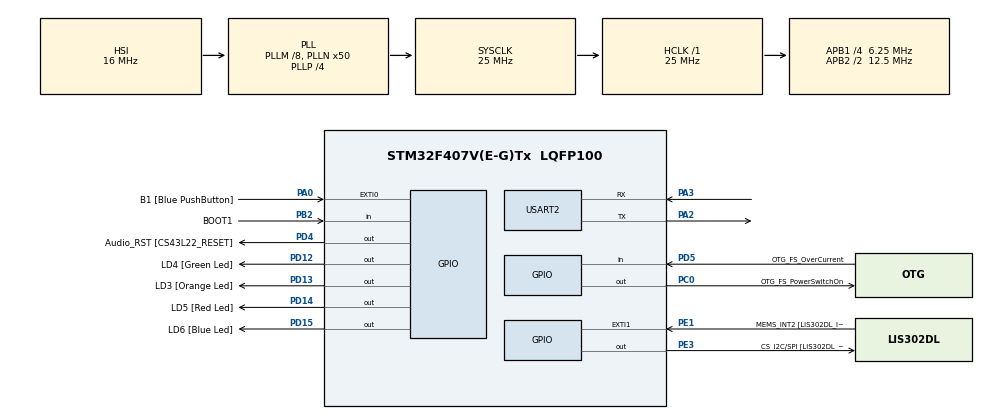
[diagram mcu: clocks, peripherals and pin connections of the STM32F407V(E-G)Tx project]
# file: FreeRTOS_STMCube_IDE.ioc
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Mcu.Family=STM32F4
Mcu.Name=STM32F407V(E-G)Tx
Mcu.Package=LQFP100
NVIC.PriorityGroup=NVIC_PRIORITYGROUP_4
NVIC.TIM6_DAC_IRQn=true\:0\:0\:false\:false\:true\:false\:true\:true
NVIC.TimeBase=TIM6_DAC_IRQn
NVIC.TimeBaseIP=TIM6
NVIC.USART2_IRQn=true\:7\:0\:true\:false\:true\:true\:true\:true
PA0-WKUP.GPIO_Label=B1 [Blue PushButton]
PA0-WKUP.GPIO_ModeDefaultEXTI=GPIO_MODE_IT_FALLING
PA0-WKUP.Signal=GPXTI0
PA10.GPIO_Label=OTG_FS_ID
PA10.GPIO_Mode=GPIO_MODE_AF_PP
PA10.GPIO_PuPd=GPIO_NOPULL
PA10.GPIO_Speed=GPIO_SPEED_FREQ_LOW
PA10.Signal=USB_OTG_FS_ID
PA11.GPIO_Label=OTG_FS_DM
PA11.GPIO_Mode=GPIO_MODE_AF_PP
PA11.GPIO_PuPd=GPIO_NOPULL
PA11.GPIO_Speed=GPIO_SPEED_FREQ_LOW
PA11.Signal=USB_OTG_FS_DM
PA12.GPIO_Label=OTG_FS_DP
PA12.GPIO_Mode=GPIO_MODE_AF_PP
PA12.GPIO_PuPd=GPIO_NOPULL
PA12.GPIO_Speed=GPIO_SPEED_FREQ_LOW
PA12.Signal=USB_OTG_FS_DP
PA13.GPIO_Label=SWDIO
PA13.Signal=SYS_JTMS-SWDIO
PA14.GPIO_Label=SWCLK
PA14.Signal=SYS_JTCK-SWCLK
PA2.Mode=Asynchronous
PA2.Signal=USART2_TX
PA3.Mode=Asynchronous
PA3.Signal=USART2_RX
PA4.GPIO_Label=I2S3_WS [CS43L22_LRCK]
PA4.GPIO_Mode=GPIO_MODE_AF_PP
PA4.GPIO_PuPd=GPIO_NOPULL
PA4.GPIO_Speed=GPIO_SPEED_FREQ_LOW
PA4.Signal=I2S3_WS
PA5.GPIO_Label=SPI1_SCK [LIS302DL_SCL/SPC]
PA5.GPIO_Mode=GPIO_MODE_AF_PP
PA5.GPIO_PuPd=GPIO_NOPULL
PA5.GPIO_Speed=GPIO_SPEED_FREQ_LOW
PA5.Signal=SPI1_SCK
PA6.GPIO_Label=SPI1_MISO [LIS302DL_SDO]
PA6.GPIO_Mode=GPIO_MODE_AF_PP
PA6.GPIO_PuPd=GPIO_NOPULL
PA6.GPIO_Speed=GPIO_SPEED_FREQ_LOW
PA6.Signal=SPI1_MISO
PA7.GPIO_Label=SPI1_MOSI [LIS302DL_SDA/SDI/SDO]
PA7.GPIO_Mode=GPIO_MODE_AF_PP
PA7.GPIO_PuPd=GPIO_NOPULL
PA7.GPIO_Speed=GPIO_SPEED_FREQ_LOW
PA7.Signal=SPI1_MOSI
PA9.GPIO_Label=VBUS_FS
PA9.GPIO_Mode=GPIO_MODE_INPUT
PA9.GPIO_PuPd=GPIO_NOPULL
PA9.Signal=USB_OTG_FS_VBUS
PB10.GPIO_Label=CLK_IN [MP45DT02_CLK]
PB10.GPIO_Mode=GPIO_MODE_AF_PP
PB10.GPIO_PuPd=GPIO_NOPULL
PB10.GPIO_Speed=GPIO_SPEED_FREQ_LOW
PB10.Signal=I2S2_CK
PB2.GPIO_Label=BOOT1
PB2.GPIO_Mode=GPIO_MODE_INPUT
PB2.GPIO_PuPd=GPIO_NOPULL
PB2.Signal=GPIO_Input
PB3.GPIO_Label=SWO
PB3.Signal=SYS_JTDO-SWO
PB6.GPIO_Label=Audio_SCL [CS43L22_SCL]
PB6.GPIO_Mode=GPIO_MODE_AF_OD
PB6.GPIO_PuPd=GPIO_NOPULL
PB6.GPIO_Speed=GPIO_SPEED_FREQ_LOW
PB6.Signal=I2C1_SCL
PB9.GPIO_Label=Audio_SDA [CS43L22_SDA]
PB9.GPIO_Mode=GPIO_MODE_AF_OD
PB9.GPIO_PuPd=GPIO_NOPULL
PB9.GPIO_Speed=GPIO_SPEED_FREQ_LOW
PB9.Signal=I2C1_SDA
PC0.GPIO_Label=OTG_FS_PowerSwitchOn
PC0.GPIO_PuPd=GPIO_NOPULL
PC0.GPIO_Speed=GPIO_SPEED_FREQ_LOW
PC0.PinState=GPIO_PIN_SET
PC0.Signal=GPIO_Output
PC10.GPIO_Label=I2S3_SCK [CS43L22_SCLK]
PC10.GPIO_Mode=GPIO_MODE_AF_PP
PC10.GPIO_PuPd=GPIO_NOPULL
PC10.GPIO_Speed=GPIO_SPEED_FREQ_LOW
PC10.Signal=I2S3_CK
PC12.GPIO_Label=I2S3_SD [CS43L22_SDIN]
PC12.GPIO_Mode=GPIO_MODE_AF_PP
PC12.GPIO_PuPd=GPIO_NOPULL
PC12.GPIO_Speed=GPIO_SPEED_FREQ_LOW
PC12.Signal=I2S3_SD
PC14-OSC32_IN.GPIO_Label=PC14-OSC32_IN
PC14-OSC32_IN.Signal=RCC_OSC32_IN
PC15-OSC32_OUT.GPIO_Label=PC15-OSC32_OUT
PC15-OSC32_OUT.Signal=RCC_OSC32_OUT
PC3.GPIO_Label=PDM_OUT [MP45DT02_DOUT]
PC3.GPIO_Mode=GPIO_MODE_AF_PP
PC3.GPIO_PuPd=GPIO_NOPULL
PC3.GPIO_Speed=GPIO_SPEED_FREQ_LOW
PC3.Signal=I2S2_SD
PC7.GPIO_Label=I2S3_MCK [CS43L22_MCLK]
PC7.GPIO_Mode=GPIO_MODE_AF_PP
PC7.GPIO_PuPd=GPIO_NOPULL
PC7.GPIO_Speed=GPIO_SPEED_FREQ_LOW
PC7.Signal=I2S3_MCK
PD12.GPIO_Label=LD4 [Green Led]
PD12.GPIO_PuPd=GPIO_NOPULL
PD12.GPIO_Speed=GPIO_SPEED_FREQ_LOW
PD12.Signal=GPIO_Output
PD13.GPIO_Label=LD3 [Orange Led]
PD13.GPIO_PuPd=GPIO_NOPULL
PD13.GPIO_Speed=GPIO_SPEED_FREQ_LOW
PD13.Signal=GPIO_Output
PD14.GPIO_Label=LD5 [Red Led]
PD14.GPIO_PuPd=GPIO_NOPULL
PD14.GPIO_Speed=GPIO_SPEED_FREQ_LOW
PD14.Signal=GPIO_Output
PD15.GPIO_Label=LD6 [Blue Led]
PD15.GPIO_PuPd=GPIO_NOPULL
PD15.GPIO_Speed=GPIO_SPEED_FREQ_LOW
PD15.Signal=GPIO_Output
PD4.GPIO_Label=Audio_RST [CS43L22_RESET]
PD4.GPIO_PuPd=GPIO_NOPULL
PD4.GPIO_Speed=GPIO_SPEED_FREQ_LOW
PD4.Signal=GPIO_Output
PD5.GPIO_Label=OTG_FS_OverCurrent
PD5.GPIO_Mode=GPIO_MODE_INPUT
PD5.GPIO_PuPd=GPIO_NOPULL
PD5.Signal=GPIO_Input
PE1.GPIO_Label=MEMS_INT2 [LIS302DL_INT2]
PE1.GPIO_ModeDefaultEXTI=GPIO_MODE_EVT_RISING
PE1.GPIO_PuPd=GPIO_NOPULL
PE1.Signal=GPXTI1
PE3.GPIO_Label=CS_I2C/SPI [LIS302DL_CS_I2C/SPI]
PE3.GPIO_PuPd=GPIO_NOPULL
PE3.GPIO_Speed=GPIO_SPEED_FREQ_LOW
PE3.Signal=GPIO_Output
PH0-OSC_IN.GPIO_Label=PH0-OSC_IN
PH0-OSC_IN.Signal=RCC_OSC_IN
PH1-OSC_OUT.GPIO_Label=PH1-OSC_OUT
PH1-OSC_OUT.Signal=RCC_OSC_OUT
ProjectManager.HeapSize=0x200
ProjectManager.StackSize=0x400
ProjectManager.TargetToolchain=STM32CubeIDE
RCC.48MHZClocksFreq_Value=14285714.285714285
RCC.AHBFreq_Value=25000000
RCC.APB1CLKDivider=RCC_HCLK_DIV4
RCC.APB1Freq_Value=6250000
RCC.APB1TimFreq_Value=12500000
RCC.APB2CLKDivider=RCC_HCLK_DIV2
RCC.APB2Freq_Value=12500000
RCC.APB2TimFreq_Value=25000000
RCC.CortexFreq_Value=25000000
RCC.HCLKFreq_Value=25000000
RCC.HSE_VALUE=8000000
RCC.HSI_VALUE=16000000
RCC.LSE_VALUE=32768
RCC.PLLM=8
RCC.PLLN=50
RCC.PLLP=RCC_PLLP_DIV4
RCC.PLLQ=7
RCC.SYSCLKFreq_VALUE=25000000
RCC.SYSCLKSource=RCC_SYSCLKSOURCE_PLLCLK
RCC.VCOOutputFreq_Value=100000000
RTC.HourFormat=RTC_HOURFORMAT_12
USART2.VirtualMode=VM_ASYNC
VP_RTC_VS_RTC_Activate.Mode=RTC_Enabled
VP_SYS_VS_tim6.Mode=TIM6
board=STM32F407G-DISC1

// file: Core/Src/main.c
/* USER CODE BEGIN Header */
/**
  ******************************************************************************
  * @file           : main.c
  * @brief          : Main program body
  ******************************************************************************
  * @attention
  *
  * Copyright (c) 2024 STMicroelectronics.
  * All rights reserved.
  *
  * This software is licensed under terms that can be found in the LICENSE file
  * in the root directory of this software component.
  * If no LICENSE file comes with this software, it is provided AS-IS.
  *
  ******************************************************************************
  */
/* USER CODE END Header */
#include "main.h"

/* USER CODE BEGIN Includes */
#include "stdio.h"
#include "FreeRTOS.h"
#include "task.h"
#include "queue.h"

/* USER CODE END Includes */

RTC_HandleTypeDef hrtc;

UART_HandleTypeDef huart2;

/* USER CODE BEGIN PV */
//TaskHandle_t Red_Led_Handle;
//TaskHandle_t Button_Handle;
TaskHandle_t Menu_Task_Handle;
TaskHandle_t LED_Task_Handle;
TaskHandle_t RTC_Task_Handle;
TaskHandle_t Print_Task_Handle;
TaskHandle_t Command_Task_Handle;
uint8_t user_data;
QueueHandle_t input_data_queue;
QueueHandle_t print_queue;
states e_state = main_menu;

/* USER CODE END PV */

void SystemClock_Config(void);
static void MX_GPIO_Init(void);
static void MX_RTC_Init(void);
static void MX_USART2_UART_Init(void);

/* USER CODE BEGIN 0 */
//void Red_Led_Handler(void *param);
//void Button_Handler(void *param);

/* USER CODE END 0 */

int main(void)
{

  /* USER CODE BEGIN 1 */
	BaseType_t status;
  /* USER CODE END 1 */

  /* MCU Configuration--------------------------------------------------------*/

  /* Reset of all peripherals, Initializes the Flash interface and the Systick. */
  HAL_Init();

  /* Configure the system clock */
  SystemClock_Config();

  /* Initialize all configured peripherals */
  MX_GPIO_Init();
  MX_RTC_Init();
  MX_USART2_UART_Init();
  /* USER CODE BEGIN 2 */

  //Menu task
  //Led task
  //RTC task
  //Print task
  //Command handling task
  //2 Queues - input data queue and print queue

  status = xTaskCreate(Menu_Task_Handler, "Menu_Task", 200, NULL, 2, &Menu_Task_Handle);

  if(status == pdPASS)
  {
  	  status = xTaskCreate(LED_Task_Handler, "LED_Task", 200, NULL, 2, &LED_Task_Handle);
  }

  if(status == pdPASS)
  {
	  status = xTaskCreate(RTC_Task_Handler, "RTC_Task", 200, NULL, 2, &RTC_Task_Handle);
  }

  if(status == pdPASS)
  {
	  status = xTaskCreate(Print_Task_Handler, "Print_Task", 200, NULL, 2, &Print_Task_Handle);
  }

  if(status == pdPASS)
  {
	  status = xTaskCreate(Command_Task_Handler, "CMD_Task", 200, NULL, 2, &Command_Task_Handle);
  }

  input_data_queue =  xQueueCreate(10U, sizeof(char));
  configASSERT(input_data_queue != NULL);

  /*in this queue, we send pointer to the string or pointer to the msg*/
  /**/
  print_queue =  xQueueCreate(10U, sizeof(size_t));
  configASSERT(print_queue != NULL);

  HAL_UART_Receive_IT(&huart2, &user_data, 1);

  if(status == pdPASS)
  {
  	  vTaskStartScheduler();
  }
  /* USER CODE END 2 */

  /* Infinite loop */
  while (1)
  {

  }
}

void SystemClock_Config(void)
{
  RCC_OscInitTypeDef RCC_OscInitStruct = {0};
  RCC_ClkInitTypeDef RCC_ClkInitStruct = {0};

  /** Configure the main internal regulator output voltage
  */
  __HAL_RCC_PWR_CLK_ENABLE();
  __HAL_PWR_VOLTAGESCALING_CONFIG(PWR_REGULATOR_VOLTAGE_SCALE1);

  /** Initializes the RCC Oscillators according to the specified parameters
  * in the RCC_OscInitTypeDef structure.
  */
  RCC_OscInitStruct.OscillatorType = RCC_OSCILLATORTYPE_HSI|RCC_OSCILLATORTYPE_LSI;
  RCC_OscInitStruct.HSIState = RCC_HSI_ON;
  RCC_OscInitStruct.HSICalibrationValue = RCC_HSICALIBRATION_DEFAULT;
  RCC_OscInitStruct.LSIState = RCC_LSI_ON;
  RCC_OscInitStruct.PLL.PLLState = RCC_PLL_ON;
  RCC_OscInitStruct.PLL.PLLSource = RCC_PLLSOURCE_HSI;
  RCC_OscInitStruct.PLL.PLLM = 8;
  RCC_OscInitStruct.PLL.PLLN = 50;
  RCC_OscInitStruct.PLL.PLLP = RCC_PLLP_DIV4;
  RCC_OscInitStruct.PLL.PLLQ = 7;
  if (HAL_RCC_OscConfig(&RCC_OscInitStruct) != HAL_OK)
  {
    Error_Handler();
  }

  /** Initializes the CPU, AHB and APB buses clocks
  */
  RCC_ClkInitStruct.ClockType = RCC_CLOCKTYPE_HCLK|RCC_CLOCKTYPE_SYSCLK
                              |RCC_CLOCKTYPE_PCLK1|RCC_CLOCKTYPE_PCLK2;
  RCC_ClkInitStruct.SYSCLKSource = RCC_SYSCLKSOURCE_PLLCLK;
  RCC_ClkInitStruct.AHBCLKDivider = RCC_SYSCLK_DIV1;
  RCC_ClkInitStruct.APB1CLKDivider = RCC_HCLK_DIV4;
  RCC_ClkInitStruct.APB2CLKDivider = RCC_HCLK_DIV2;

  if (HAL_RCC_ClockConfig(&RCC_ClkInitStruct, FLASH_LATENCY_0) != HAL_OK)
  {
    Error_Handler();
  }
}

static void MX_RTC_Init(void)
{

  /** Initialize RTC Only
  */
  hrtc.Instance = RTC;
  hrtc.Init.HourFormat = RTC_HOURFORMAT_12;
  hrtc.Init.AsynchPrediv = 127;
  hrtc.Init.SynchPrediv = 255;
  hrtc.Init.OutPut = RTC_OUTPUT_DISABLE;
  hrtc.Init.OutPutPolarity = RTC_OUTPUT_POLARITY_HIGH;
  hrtc.Init.OutPutType = RTC_OUTPUT_TYPE_OPENDRAIN;
  if (HAL_RTC_Init(&hrtc) != HAL_OK)
  {
    Error_Handler();
  }

}

static void MX_USART2_UART_Init(void)
{

  huart2.Instance = USART2;
  huart2.Init.BaudRate = 115200;
  huart2.Init.WordLength = UART_WORDLENGTH_8B;
  huart2.Init.StopBits = UART_STOPBITS_1;
  huart2.Init.Parity = UART_PARITY_NONE;
  huart2.Init.Mode = UART_MODE_TX_RX;
  huart2.Init.HwFlowCtl = UART_HWCONTROL_NONE;
  huart2.Init.OverSampling = UART_OVERSAMPLING_16;
  if (HAL_UART_Init(&huart2) != HAL_OK)
  {
    Error_Handler();
  }

}

static void MX_GPIO_Init(void)
{
  GPIO_InitTypeDef GPIO_InitStruct = {0};

  /* GPIO Ports Clock Enable */
  __HAL_RCC_GPIOE_CLK_ENABLE();
  __HAL_RCC_GPIOC_CLK_ENABLE();
  __HAL_RCC_GPIOH_CLK_ENABLE();
  __HAL_RCC_GPIOA_CLK_ENABLE();
  __HAL_RCC_GPIOB_CLK_ENABLE();
  __HAL_RCC_GPIOD_CLK_ENABLE();

  /*Configure GPIO pin Output Level */
  HAL_GPIO_WritePin(CS_I2C_SPI_GPIO_Port, CS_I2C_SPI_Pin, GPIO_PIN_RESET);

  /*Configure GPIO pin Output Level */
  HAL_GPIO_WritePin(OTG_FS_PowerSwitchOn_GPIO_Port, OTG_FS_PowerSwitchOn_Pin, GPIO_PIN_SET);

  /*Configure GPIO pin Output Level */
  HAL_GPIO_WritePin(GPIOD, LD4_Pin|LD3_Pin|LD5_Pin|LD6_Pin
                          |Audio_RST_Pin, GPIO_PIN_RESET);

  /*Configure GPIO pin : CS_I2C_SPI_Pin */
  GPIO_InitStruct.Pin = CS_I2C_SPI_Pin;
  GPIO_InitStruct.Mode = GPIO_MODE_OUTPUT_PP;
  GPIO_InitStruct.Pull = GPIO_NOPULL;
  GPIO_InitStruct.Speed = GPIO_SPEED_FREQ_LOW;
  HAL_GPIO_Init(CS_I2C_SPI_GPIO_Port, &GPIO_InitStruct);

  /*Configure GPIO pin : OTG_FS_PowerSwitchOn_Pin */
  GPIO_InitStruct.Pin = OTG_FS_PowerSwitchOn_Pin;
  GPIO_InitStruct.Mode = GPIO_MODE_OUTPUT_PP;
  GPIO_InitStruct.Pull = GPIO_NOPULL;
  GPIO_InitStruct.Speed = GPIO_SPEED_FREQ_LOW;
  HAL_GPIO_Init(OTG_FS_PowerSwitchOn_GPIO_Port, &GPIO_InitStruct);

  /*Configure GPIO pin : PDM_OUT_Pin */
  GPIO_InitStruct.Pin = PDM_OUT_Pin;
  GPIO_InitStruct.Mode = GPIO_MODE_AF_PP;
  GPIO_InitStruct.Pull = GPIO_NOPULL;
  GPIO_InitStruct.Speed = GPIO_SPEED_FREQ_LOW;
  GPIO_InitStruct.Alternate = GPIO_AF5_SPI2;
  HAL_GPIO_Init(PDM_OUT_GPIO_Port, &GPIO_InitStruct);

  /*Configure GPIO pin : B1_Pin */
  GPIO_InitStruct.Pin = B1_Pin;
  GPIO_InitStruct.Mode = GPIO_MODE_IT_FALLING;
  GPIO_InitStruct.Pull = GPIO_NOPULL;
  HAL_GPIO_Init(B1_GPIO_Port, &GPIO_InitStruct);

  /*Configure GPIO pin : I2S3_WS_Pin */
  GPIO_InitStruct.Pin = I2S3_WS_Pin;
  GPIO_InitStruct.Mode = GPIO_MODE_AF_PP;
  GPIO_InitStruct.Pull = GPIO_NOPULL;
  GPIO_InitStruct.Speed = GPIO_SPEED_FREQ_LOW;
  GPIO_InitStruct.Alternate = GPIO_AF6_SPI3;
  HAL_GPIO_Init(I2S3_WS_GPIO_Port, &GPIO_InitStruct);

  /*Configure GPIO pins : SPI1_SCK_Pin SPI1_MISO_Pin SPI1_MOSI_Pin */
  GPIO_InitStruct.Pin = SPI1_SCK_Pin|SPI1_MISO_Pin|SPI1_MOSI_Pin;
  GPIO_InitStruct.Mode = GPIO_MODE_AF_PP;
  GPIO_InitStruct.Pull = GPIO_NOPULL;
  GPIO_InitStruct.Speed = GPIO_SPEED_FREQ_LOW;
  GPIO_InitStruct.Alternate = GPIO_AF5_SPI1;
  HAL_GPIO_Init(GPIOA, &GPIO_InitStruct);

  /*Configure GPIO pin : BOOT1_Pin */
  GPIO_InitStruct.Pin = BOOT1_Pin;
  GPIO_InitStruct.Mode = GPIO_MODE_INPUT;
  GPIO_InitStruct.Pull = GPIO_NOPULL;
  HAL_GPIO_Init(BOOT1_GPIO_Port, &GPIO_InitStruct);

  /*Configure GPIO pin : CLK_IN_Pin */
  GPIO_InitStruct.Pin = CLK_IN_Pin;
  GPIO_InitStruct.Mode = GPIO_MODE_AF_PP;
  GPIO_InitStruct.Pull = GPIO_NOPULL;
  GPIO_InitStruct.Speed = GPIO_SPEED_FREQ_LOW;
  GPIO_InitStruct.Alternate = GPIO_AF5_SPI2;
  HAL_GPIO_Init(CLK_IN_GPIO_Port, &GPIO_InitStruct);

  /*Configure GPIO pins : LD4_Pin LD3_Pin LD5_Pin LD6_Pin
                           Audio_RST_Pin */
  GPIO_InitStruct.Pin = LD4_Pin|LD3_Pin|LD5_Pin|LD6_Pin
                          |Audio_RST_Pin;
  GPIO_InitStruct.Mode = GPIO_MODE_OUTPUT_PP;
  GPIO_InitStruct.Pull = GPIO_NOPULL;
  GPIO_InitStruct.Speed = GPIO_SPEED_FREQ_LOW;
  HAL_GPIO_Init(GPIOD, &GPIO_InitStruct);

  /*Configure GPIO pins : I2S3_MCK_Pin I2S3_SCK_Pin I2S3_SD_Pin */
  GPIO_InitStruct.Pin = I2S3_MCK_Pin|I2S3_SCK_Pin|I2S3_SD_Pin;
  GPIO_InitStruct.Mode = GPIO_MODE_AF_PP;
  GPIO_InitStruct.Pull = GPIO_NOPULL;
  GPIO_InitStruct.Speed = GPIO_SPEED_FREQ_LOW;
  GPIO_InitStruct.Alternate = GPIO_AF6_SPI3;
  HAL_GPIO_Init(GPIOC, &GPIO_InitStruct);

  /*Configure GPIO pin : VBUS_FS_Pin */
  GPIO_InitStruct.Pin = VBUS_FS_Pin;
  GPIO_InitStruct.Mode = GPIO_MODE_INPUT;
  GPIO_InitStruct.Pull = GPIO_NOPULL;
  HAL_GPIO_Init(VBUS_FS_GPIO_Port, &GPIO_InitStruct);

  /*Configure GPIO pins : OTG_FS_ID_Pin OTG_FS_DM_Pin OTG_FS_DP_Pin */
  GPIO_InitStruct.Pin = OTG_FS_ID_Pin|OTG_FS_DM_Pin|OTG_FS_DP_Pin;
  GPIO_InitStruct.Mode = GPIO_MODE_AF_PP;
  GPIO_InitStruct.Pull = GPIO_NOPULL;
  GPIO_InitStruct.Speed = GPIO_SPEED_FREQ_LOW;
  GPIO_InitStruct.Alternate = GPIO_AF10_OTG_FS;
  HAL_GPIO_Init(GPIOA, &GPIO_InitStruct);

  /*Configure GPIO pin : OTG_FS_OverCurrent_Pin */
  GPIO_InitStruct.Pin = OTG_FS_OverCurrent_Pin;
  GPIO_InitStruct.Mode = GPIO_MODE_INPUT;
  GPIO_InitStruct.Pull = GPIO_NOPULL;
  HAL_GPIO_Init(OTG_FS_OverCurrent_GPIO_Port, &GPIO_InitStruct);

  /*Configure GPIO pins : Audio_SCL_Pin Audio_SDA_Pin */
  GPIO_InitStruct.Pin = Audio_SCL_Pin|Audio_SDA_Pin;
  GPIO_InitStruct.Mode = GPIO_MODE_AF_OD;
  GPIO_InitStruct.Pull = GPIO_NOPULL;
  GPIO_InitStruct.Speed = GPIO_SPEED_FREQ_LOW;
  GPIO_InitStruct.Alternate = GPIO_AF4_I2C1;
  HAL_GPIO_Init(GPIOB, &GPIO_InitStruct);

  /*Configure GPIO pin : MEMS_INT2_Pin */
  GPIO_InitStruct.Pin = MEMS_INT2_Pin;
  GPIO_InitStruct.Mode = GPIO_MODE_EVT_RISING;
  GPIO_InitStruct.Pull = GPIO_NOPULL;
  HAL_GPIO_Init(MEMS_INT2_GPIO_Port, &GPIO_InitStruct);

}

/* USER CODE BEGIN 4 */
void HAL_UART_RxCpltCallback(UART_HandleTypeDef *huart)
{
	uint8_t dummy;
	if(pdFALSE == xQueueIsQueueFullFromISR(input_data_queue))
	{
		/*Queue is not full */
		 xQueueSendFromISR(input_data_queue, (void *)&user_data, NULL);

	}else{
		/*Queue is full */
		if(user_data == '\r')
		{
			xQueueReceiveFromISR(input_data_queue, &dummy, NULL);
			xQueueSendFromISR(input_data_queue, (void *)&user_data, NULL);
		}
	}

	if(user_data == '\r')
	{
		xTaskNotifyFromISR(Command_Task_Handle, 0, eNoAction, NULL);
	}

	HAL_UART_Receive_IT(&huart2, (uint8_t *)&user_data, 1);
}
/*
void Red_Led_Handler(void *param)
{
	BaseType_t status;
	while(1)
	{
		status = xTaskNotifyWait(0, 0, NULL, portMAX_DELAY);
		if(status == pdTRUE)
		{
			HAL_GPIO_TogglePin(GPIOD, RED_LED);
		}
	}
}
void HAL_GPIO_EXTI_Callback(uint16_t GPIO_Pin)
{
	xTaskNotifyFromISR(Red_Led_Handle, 0, eNoAction, NULL);
}

unsigned int gState = 0;
void Button_Handler(void *param)
{
	BaseType_t status;
	GPIO_PinState state;
	while(1)
	{
		state = HAL_GPIO_ReadPin(GPIOA, USER_BUTTON);
		if((state == GPIO_PIN_SET) && (gState == 0))
		{
			gState = 1;
			status = xTaskNotify(Red_Led_Handle, 0, eNoAction);
		}
		if((gState == 1) && (state == GPIO_PIN_RESET))
		{
			gState = 0;
		}
		vTaskDelay(pdMS_TO_TICKS(10));
	}
}
*/
//status = xTaskNotify(Red_Led_Handle, 0, eNoAction);

/* USER CODE END 4 */

void HAL_TIM_PeriodElapsedCallback(TIM_HandleTypeDef *htim)
{
  if (htim->Instance == TIM6) {
    HAL_IncTick();
  }
}

void Error_Handler(void)
{
  __disable_irq();
  while (1)
  {
  }
}
